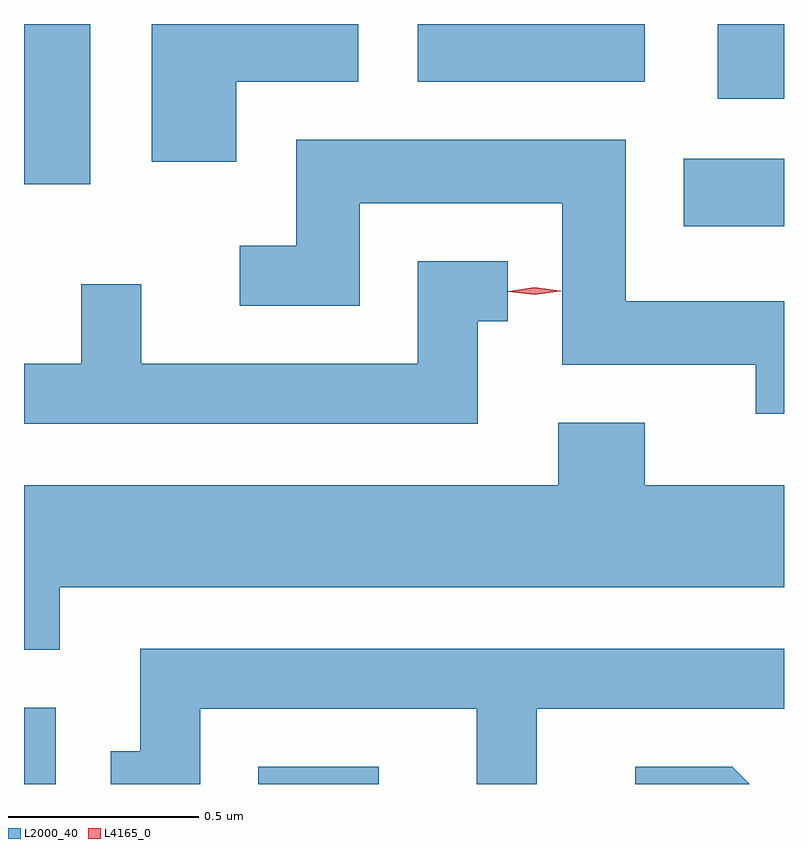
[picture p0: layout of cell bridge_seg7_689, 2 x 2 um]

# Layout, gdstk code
import gdstk
lib = gdstk.Library(unit=1e-6, precision=1e-09)
def R(c, l, rs):  # rectangles x0, y0, x1, y1
    for r in rs: c.add(gdstk.rectangle(r[:2], r[2:], *l))
def P(c, l, *ps):  # polygons
    for p in ps: c.add(gdstk.Polygon(p, *l))
L2000_40 = (2000, 40)
L4165_0 = (4165, 0)

bridge_seg7_689 = lib.new_cell('bridge_seg7_689')
R(bridge_seg7_689, L2000_40, [(829.585,1722.678,829.669,1722.879), (830.201,1722.678,830.518,1722.724), (831.321,1724.146,831.585,1724.324), (829.585,1724.256,829.759,1724.678), (831.411,1724.481,831.585,1724.678), (830.621,1724.526,831.219,1724.678)])
P(bridge_seg7_689, L2000_40, [(830.144,1724.526),(830.464,1724.526),(830.464,1724.678),(829.921,1724.678),(829.921,1724.316),(830.144,1724.316)],
  [(831.585,1723.949),(831.169,1723.949),(831.169,1724.374),(830.301,1724.374),(830.301,1724.094),(830.153,1724.094),(830.153,1723.936),(830.469,1723.936),(830.469,1724.206),(831.001,1724.206),(831.001,1723.781),(831.511,1723.781),(831.511,1723.653),(831.585,1723.653)],
  [(830.779,1723.896),(830.858,1723.896),(830.858,1724.054),(830.621,1724.054),(830.621,1723.784),(829.894,1723.784),(829.894,1723.993),(829.736,1723.993),(829.736,1723.784),(829.585,1723.784),(829.585,1723.626),(830.779,1723.626)],
  [(829.679,1723.196),(831.585,1723.196),(831.585,1723.464),(831.219,1723.464),(831.219,1723.629),(830.991,1723.629),(830.991,1723.464),(829.585,1723.464),(829.585,1723.031),(829.679,1723.031)],
  [(830.049,1722.876),(830.776,1722.876),(830.776,1722.678),(830.934,1722.678),(830.934,1722.876),(831.585,1722.876),(831.585,1723.034),(829.891,1723.034),(829.891,1722.764),(829.813,1722.764),(829.813,1722.678),(830.049,1722.678)],
  [(831.449,1722.724),(831.193,1722.724),(831.193,1722.678),(831.495,1722.678)])
P(bridge_seg7_689, L4165_0, [(830.928,1723.965),(830.859,1723.974),(830.859,1723.975),(830.859,1723.975),(830.928,1723.985),(830.998,1723.976),(830.998,1723.976),(830.998,1723.975)])

lib.write_gds('bridge_seg7_689.gds')
